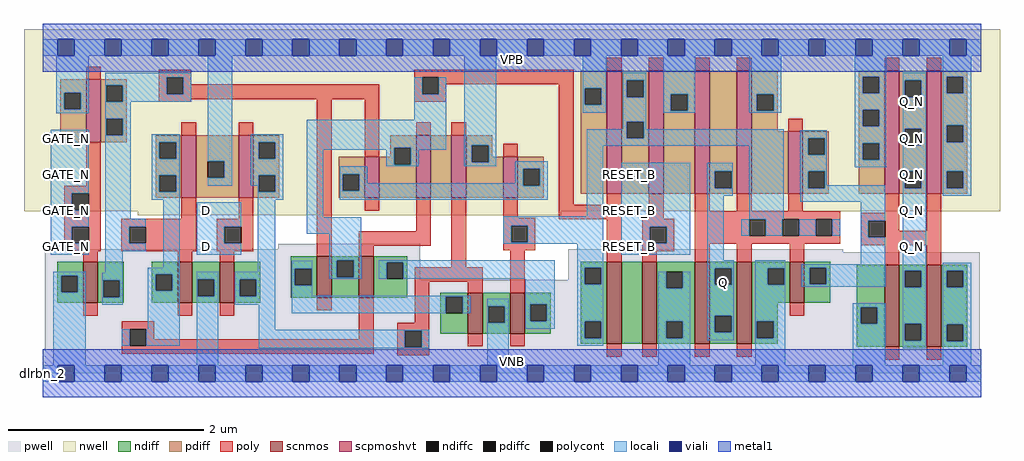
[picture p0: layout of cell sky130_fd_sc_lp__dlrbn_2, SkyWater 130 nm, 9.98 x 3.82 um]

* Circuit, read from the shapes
.subckt sky130_fd_sc_lp__dlrbn_2 D GATE_N RESET_B VGND VNB VPB VPWR Q Q_N
XM1 n1 GATE_N VGND VNB sky130_fd_pr__nfet_01v8 w=0.42 l=0.15
XM2 VGND n1 n2 VNB sky130_fd_pr__nfet_01v8 w=0.42 l=0.15
XM3 n3 D VGND VNB sky130_fd_pr__nfet_01v8 w=0.42 l=0.15
XM4 n4 n1 n5 VNB sky130_fd_pr__nfet_01v8 w=0.42 l=0.15
XM5 n6 n2 n4 VNB sky130_fd_pr__nfet_01v8 w=0.42 l=0.15
XM6 VGND n3 n5 VNB sky130_fd_pr__nfet_01v8 w=0.42 l=0.15
XM7 n6 n7 VGND VNB sky130_fd_pr__nfet_01v8 w=0.42 l=0.15
XM8 n8 n4 n7 VNB sky130_fd_pr__nfet_01v8 w=0.84 l=0.15
XM9 VGND RESET_B n8 VNB sky130_fd_pr__nfet_01v8 w=0.84 l=0.15
XM10 Q n7 VGND VNB sky130_fd_pr__nfet_01v8 w=0.84 l=0.15 m=2
XM11 n9 n7 VGND VNB sky130_fd_pr__nfet_01v8 w=0.42 l=0.15
XM12 Q_N n9 VGND VNB sky130_fd_pr__nfet_01v8 w=0.84 l=0.15 m=2
XM13 n1 GATE_N VPWR VPB sky130_fd_pr__pfet_01v8_hvt w=0.64 l=0.15
XM14 VPWR n1 n2 VPB sky130_fd_pr__pfet_01v8_hvt w=0.64 l=0.15
XM15 n3 D VPWR VPB sky130_fd_pr__pfet_01v8_hvt w=0.64 l=0.15
XM16 n4 n1 n10 VPB sky130_fd_pr__pfet_01v8_hvt w=0.42 l=0.15
XM17 n11 n2 n4 VPB sky130_fd_pr__pfet_01v8_hvt w=0.64 l=0.15
XM18 VPWR n3 n11 VPB sky130_fd_pr__pfet_01v8_hvt w=0.64 l=0.15
XM19 n10 n7 VPWR VPB sky130_fd_pr__pfet_01v8_hvt w=0.42 l=0.15
XM20 n7 n4 VPWR VPB sky130_fd_pr__pfet_01v8_hvt w=1.26 l=0.15
XM21 VPWR RESET_B n7 VPB sky130_fd_pr__pfet_01v8_hvt w=1.26 l=0.15
XM22 Q n7 VPWR VPB sky130_fd_pr__pfet_01v8_hvt w=1.26 l=0.15 m=2
XM23 n9 n7 VPWR VPB sky130_fd_pr__pfet_01v8_hvt w=0.64 l=0.15
XM24 Q_N n9 VPWR VPB sky130_fd_pr__pfet_01v8_hvt w=1.26 l=0.15 m=2
.ends

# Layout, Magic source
magic
tech sky130A
magscale 1 2
<< nwell >>
rect -38 331 1958 704
rect 195 323 1061 331
<< pwell >>
rect 482 254 772 265
rect 4 191 772 254
rect 1075 248 1637 254
rect 1075 191 1917 248
rect 4 49 1917 191
rect 0 0 1920 49
<< scnmos >>
rect 83 144 113 228
rect 276 144 306 228
rect 362 144 392 228
rect 561 155 591 239
rect 647 155 677 239
rect 870 81 900 165
rect 956 81 986 165
rect 1154 60 1184 228
rect 1226 60 1256 228
rect 1334 60 1364 228
rect 1420 60 1450 228
rect 1528 144 1558 228
rect 1722 54 1752 222
rect 1808 54 1838 222
<< scpmoshvt >>
rect 89 473 119 601
rect 284 359 314 487
rect 401 359 431 487
rect 659 359 689 443
rect 764 359 794 487
rect 836 359 866 487
rect 942 359 972 443
rect 1154 367 1184 619
rect 1240 367 1270 619
rect 1334 367 1364 619
rect 1420 367 1450 619
rect 1525 367 1555 495
rect 1722 367 1752 619
rect 1808 367 1838 619
<< ndiff >>
rect 30 200 83 228
rect 30 166 38 200
rect 72 166 83 200
rect 30 144 83 166
rect 113 190 166 228
rect 113 156 124 190
rect 158 156 166 190
rect 113 144 166 156
rect 223 203 276 228
rect 223 169 231 203
rect 265 169 276 203
rect 223 144 276 169
rect 306 192 362 228
rect 306 158 317 192
rect 351 158 362 192
rect 306 144 362 158
rect 392 192 445 228
rect 392 158 403 192
rect 437 158 445 192
rect 392 144 445 158
rect 508 214 561 239
rect 508 180 516 214
rect 550 180 561 214
rect 508 155 561 180
rect 591 231 647 239
rect 591 197 602 231
rect 636 197 647 231
rect 591 155 647 197
rect 677 227 746 239
rect 677 193 704 227
rect 738 193 746 227
rect 677 155 746 193
rect 1101 216 1154 228
rect 1101 182 1109 216
rect 1143 182 1154 216
rect 813 157 870 165
rect 813 123 825 157
rect 859 123 870 157
rect 813 81 870 123
rect 900 137 956 165
rect 900 103 911 137
rect 945 103 956 137
rect 900 81 956 103
rect 986 141 1039 165
rect 986 107 997 141
rect 1031 107 1039 141
rect 986 81 1039 107
rect 1101 106 1154 182
rect 1101 72 1109 106
rect 1143 72 1154 106
rect 1101 60 1154 72
rect 1184 60 1226 228
rect 1256 208 1334 228
rect 1256 174 1275 208
rect 1309 174 1334 208
rect 1256 106 1334 174
rect 1256 72 1275 106
rect 1309 72 1334 106
rect 1256 60 1334 72
rect 1364 215 1420 228
rect 1364 181 1375 215
rect 1409 181 1420 215
rect 1364 118 1420 181
rect 1364 84 1375 118
rect 1409 84 1420 118
rect 1364 60 1420 84
rect 1450 215 1528 228
rect 1450 181 1483 215
rect 1517 181 1528 215
rect 1450 144 1528 181
rect 1558 216 1611 228
rect 1558 182 1569 216
rect 1603 182 1611 216
rect 1558 144 1611 182
rect 1450 106 1503 144
rect 1665 135 1722 222
rect 1450 72 1461 106
rect 1495 72 1503 106
rect 1450 60 1503 72
rect 1665 101 1673 135
rect 1707 101 1722 135
rect 1665 54 1722 101
rect 1752 210 1808 222
rect 1752 176 1763 210
rect 1797 176 1808 210
rect 1752 101 1808 176
rect 1752 67 1763 101
rect 1797 67 1808 101
rect 1752 54 1808 67
rect 1838 210 1891 222
rect 1838 176 1849 210
rect 1883 176 1891 210
rect 1838 100 1891 176
rect 1838 66 1849 100
rect 1883 66 1891 100
rect 1838 54 1891 66
<< pdiff >>
rect 36 574 89 601
rect 36 540 44 574
rect 78 540 89 574
rect 36 473 89 540
rect 119 589 172 601
rect 119 555 130 589
rect 164 555 172 589
rect 119 521 172 555
rect 119 487 130 521
rect 164 487 172 521
rect 119 473 172 487
rect 231 473 284 487
rect 231 439 239 473
rect 273 439 284 473
rect 231 405 284 439
rect 231 371 239 405
rect 273 371 284 405
rect 231 359 284 371
rect 314 434 401 487
rect 314 400 338 434
rect 372 400 401 434
rect 314 359 401 400
rect 431 473 484 487
rect 431 439 442 473
rect 476 439 484 473
rect 431 405 484 439
rect 431 371 442 405
rect 476 371 484 405
rect 431 359 484 371
rect 711 461 764 487
rect 711 443 719 461
rect 606 407 659 443
rect 606 373 614 407
rect 648 373 659 407
rect 606 359 659 373
rect 689 427 719 443
rect 753 427 764 461
rect 689 359 764 427
rect 794 359 836 487
rect 866 466 920 487
rect 866 432 878 466
rect 912 443 920 466
rect 912 432 942 443
rect 866 359 942 432
rect 972 418 1025 443
rect 972 384 983 418
rect 1017 384 1025 418
rect 972 359 1025 384
rect 1101 583 1154 619
rect 1101 549 1109 583
rect 1143 549 1154 583
rect 1101 367 1154 549
rect 1184 599 1240 619
rect 1184 565 1195 599
rect 1229 565 1240 599
rect 1184 515 1240 565
rect 1184 481 1195 515
rect 1229 481 1240 515
rect 1184 367 1240 481
rect 1270 571 1334 619
rect 1270 537 1285 571
rect 1319 537 1334 571
rect 1270 367 1334 537
rect 1364 413 1420 619
rect 1364 379 1375 413
rect 1409 379 1420 413
rect 1364 367 1420 379
rect 1450 571 1503 619
rect 1450 537 1461 571
rect 1495 537 1503 571
rect 1450 495 1503 537
rect 1669 607 1722 619
rect 1669 573 1677 607
rect 1711 573 1722 607
rect 1669 539 1722 573
rect 1669 505 1677 539
rect 1711 505 1722 539
rect 1450 367 1525 495
rect 1555 481 1608 495
rect 1555 447 1566 481
rect 1600 447 1608 481
rect 1555 413 1608 447
rect 1555 379 1566 413
rect 1600 379 1608 413
rect 1555 367 1608 379
rect 1669 471 1722 505
rect 1669 437 1677 471
rect 1711 437 1722 471
rect 1669 367 1722 437
rect 1752 599 1808 619
rect 1752 565 1763 599
rect 1797 565 1808 599
rect 1752 500 1808 565
rect 1752 466 1763 500
rect 1797 466 1808 500
rect 1752 413 1808 466
rect 1752 379 1763 413
rect 1797 379 1808 413
rect 1752 367 1808 379
rect 1838 607 1891 619
rect 1838 573 1849 607
rect 1883 573 1891 607
rect 1838 507 1891 573
rect 1838 473 1849 507
rect 1883 473 1891 507
rect 1838 413 1891 473
rect 1838 379 1849 413
rect 1883 379 1891 413
rect 1838 367 1891 379
<< ndiffc >>
rect 38 166 72 200
rect 124 156 158 190
rect 231 169 265 203
rect 317 158 351 192
rect 403 158 437 192
rect 516 180 550 214
rect 602 197 636 231
rect 704 193 738 227
rect 1109 182 1143 216
rect 825 123 859 157
rect 911 103 945 137
rect 997 107 1031 141
rect 1109 72 1143 106
rect 1275 174 1309 208
rect 1275 72 1309 106
rect 1375 181 1409 215
rect 1375 84 1409 118
rect 1483 181 1517 215
rect 1569 182 1603 216
rect 1461 72 1495 106
rect 1673 101 1707 135
rect 1763 176 1797 210
rect 1763 67 1797 101
rect 1849 176 1883 210
rect 1849 66 1883 100
<< pdiffc >>
rect 44 540 78 574
rect 130 555 164 589
rect 130 487 164 521
rect 239 439 273 473
rect 239 371 273 405
rect 338 400 372 434
rect 442 439 476 473
rect 442 371 476 405
rect 614 373 648 407
rect 719 427 753 461
rect 878 432 912 466
rect 983 384 1017 418
rect 1109 549 1143 583
rect 1195 565 1229 599
rect 1195 481 1229 515
rect 1285 537 1319 571
rect 1375 379 1409 413
rect 1461 537 1495 571
rect 1677 573 1711 607
rect 1677 505 1711 539
rect 1566 447 1600 481
rect 1566 379 1600 413
rect 1677 437 1711 471
rect 1763 565 1797 599
rect 1763 466 1797 500
rect 1763 379 1797 413
rect 1849 573 1883 607
rect 1849 473 1883 507
rect 1849 379 1883 413
<< poly >>
rect 89 601 119 627
rect 238 605 304 621
rect 238 571 254 605
rect 288 591 304 605
rect 760 605 1086 621
rect 1154 619 1184 645
rect 1240 619 1270 645
rect 1334 619 1364 645
rect 1420 619 1450 645
rect 1722 619 1752 645
rect 1808 619 1838 645
rect 288 571 689 591
rect 238 561 689 571
rect 238 555 304 561
rect 284 487 314 513
rect 401 487 431 513
rect 89 384 119 473
rect 44 368 119 384
rect 44 334 60 368
rect 94 334 119 368
rect 44 300 119 334
rect 284 316 314 359
rect 401 316 431 359
rect 44 266 60 300
rect 94 266 119 300
rect 44 250 119 266
rect 161 300 314 316
rect 161 266 177 300
rect 211 266 314 300
rect 161 250 314 266
rect 356 300 431 316
rect 356 266 372 300
rect 406 266 431 300
rect 356 250 431 266
rect 83 228 113 250
rect 276 228 306 250
rect 362 228 392 250
rect 561 239 591 561
rect 659 443 689 561
rect 760 571 776 605
rect 810 591 1086 605
rect 810 571 826 591
rect 760 555 826 571
rect 764 487 794 513
rect 836 487 866 513
rect 942 443 972 469
rect 659 333 689 359
rect 764 291 794 359
rect 647 261 794 291
rect 647 239 677 261
rect 836 217 866 359
rect 942 318 972 359
rect 1056 345 1086 591
rect 1525 495 1555 521
rect 1154 345 1184 367
rect 942 302 1008 318
rect 1056 315 1184 345
rect 1240 316 1270 367
rect 1334 331 1364 367
rect 1420 331 1450 367
rect 1525 331 1555 367
rect 942 268 958 302
rect 992 268 1008 302
rect 942 252 1008 268
rect 761 187 900 217
rect 83 118 113 144
rect 276 118 306 144
rect 362 118 392 144
rect 561 129 591 155
rect 162 90 228 106
rect 162 56 178 90
rect 212 70 228 90
rect 647 70 677 155
rect 761 103 791 187
rect 870 165 900 187
rect 956 165 986 252
rect 1154 228 1184 315
rect 1226 300 1292 316
rect 1226 266 1242 300
rect 1276 266 1292 300
rect 1226 250 1292 266
rect 1334 315 1631 331
rect 1722 328 1752 367
rect 1334 281 1445 315
rect 1479 281 1513 315
rect 1547 281 1581 315
rect 1615 281 1631 315
rect 1334 265 1631 281
rect 1673 312 1752 328
rect 1673 278 1689 312
rect 1723 292 1752 312
rect 1808 292 1838 367
rect 1723 278 1838 292
rect 1226 228 1256 250
rect 1334 228 1364 265
rect 1420 228 1450 265
rect 1528 228 1558 265
rect 1673 262 1838 278
rect 212 56 677 70
rect 162 40 677 56
rect 725 87 791 103
rect 725 53 741 87
rect 775 53 791 87
rect 870 55 900 81
rect 956 55 986 81
rect 1722 222 1752 262
rect 1808 222 1838 262
rect 1528 118 1558 144
rect 725 37 791 53
rect 1154 34 1184 60
rect 1226 34 1256 60
rect 1334 34 1364 60
rect 1420 34 1450 60
rect 1722 28 1752 54
rect 1808 28 1838 54
<< polycont >>
rect 254 571 288 605
rect 60 334 94 368
rect 60 266 94 300
rect 177 266 211 300
rect 372 266 406 300
rect 776 571 810 605
rect 958 268 992 302
rect 178 56 212 90
rect 1242 266 1276 300
rect 1445 281 1479 315
rect 1513 281 1547 315
rect 1581 281 1615 315
rect 1689 278 1723 312
rect 741 53 775 87
<< locali >>
rect 0 649 31 683
rect 65 649 127 683
rect 161 649 223 683
rect 257 649 319 683
rect 353 649 415 683
rect 449 649 511 683
rect 545 649 607 683
rect 641 649 703 683
rect 737 649 799 683
rect 833 649 895 683
rect 929 649 991 683
rect 1025 649 1087 683
rect 1121 649 1183 683
rect 1217 649 1279 683
rect 1313 649 1375 683
rect 1409 649 1471 683
rect 1505 649 1567 683
rect 1601 649 1663 683
rect 1697 649 1759 683
rect 1793 649 1855 683
rect 1889 649 1920 683
rect 28 574 94 649
rect 28 540 44 574
rect 78 540 94 574
rect 28 532 94 540
rect 128 605 304 615
rect 128 589 254 605
rect 128 555 130 589
rect 164 571 254 589
rect 288 571 304 605
rect 164 555 304 571
rect 128 521 180 555
rect 17 368 94 498
rect 17 334 60 368
rect 17 300 94 334
rect 17 266 60 300
rect 17 242 94 266
rect 128 487 130 521
rect 164 487 180 521
rect 128 316 180 487
rect 223 473 281 489
rect 223 439 239 473
rect 273 439 281 473
rect 223 405 281 439
rect 223 371 239 405
rect 273 371 281 405
rect 338 434 388 649
rect 760 571 776 605
rect 810 571 826 605
rect 760 519 826 571
rect 372 400 388 434
rect 338 384 388 400
rect 426 473 492 489
rect 426 439 442 473
rect 476 439 492 473
rect 426 405 492 439
rect 426 384 442 405
rect 223 355 281 371
rect 128 300 211 316
rect 128 266 177 300
rect 128 250 211 266
rect 22 200 88 208
rect 128 206 164 250
rect 247 216 281 355
rect 440 371 442 384
rect 476 371 492 405
rect 440 355 492 371
rect 540 461 826 519
rect 540 457 719 461
rect 315 300 406 350
rect 315 266 372 300
rect 315 242 406 266
rect 22 166 38 200
rect 72 166 88 200
rect 22 17 88 166
rect 122 190 164 206
rect 122 156 124 190
rect 158 156 164 190
rect 122 140 164 156
rect 215 203 281 216
rect 440 208 476 355
rect 540 319 574 457
rect 703 427 719 457
rect 753 457 826 461
rect 862 466 928 649
rect 1105 583 1153 649
rect 1105 549 1109 583
rect 1143 549 1153 583
rect 1105 533 1153 549
rect 1187 599 1235 615
rect 1187 565 1195 599
rect 1229 565 1235 599
rect 1187 515 1235 565
rect 1269 571 1335 649
rect 1269 537 1285 571
rect 1319 537 1335 571
rect 1269 533 1335 537
rect 1445 571 1511 649
rect 1445 537 1461 571
rect 1495 537 1511 571
rect 1445 533 1511 537
rect 1661 607 1725 649
rect 1661 573 1677 607
rect 1711 573 1725 607
rect 1661 539 1725 573
rect 1187 499 1195 515
rect 753 427 769 457
rect 703 423 769 427
rect 862 432 878 466
rect 912 432 928 466
rect 1113 481 1195 499
rect 1229 499 1235 515
rect 1661 505 1677 539
rect 1711 505 1725 539
rect 1229 481 1516 499
rect 1113 465 1516 481
rect 862 423 928 432
rect 608 407 664 423
rect 608 373 614 407
rect 648 389 664 407
rect 967 418 1033 434
rect 967 389 983 418
rect 648 384 983 389
rect 1017 384 1033 418
rect 648 373 1033 384
rect 608 355 1033 373
rect 1113 321 1147 465
rect 540 285 652 319
rect 586 231 652 285
rect 942 302 1147 321
rect 942 268 958 302
rect 992 268 1147 302
rect 942 265 1147 268
rect 215 169 231 203
rect 265 169 281 203
rect 215 90 281 169
rect 162 56 178 90
rect 212 56 281 90
rect 315 192 359 208
rect 315 158 317 192
rect 351 158 359 192
rect 315 17 359 158
rect 393 192 476 208
rect 393 158 403 192
rect 437 158 476 192
rect 393 140 476 158
rect 442 89 476 140
rect 510 214 552 230
rect 510 180 516 214
rect 550 180 552 214
rect 586 197 602 231
rect 636 197 652 231
rect 586 193 652 197
rect 688 227 1047 231
rect 688 193 704 227
rect 738 193 1047 227
rect 510 159 552 180
rect 510 157 875 159
rect 510 123 825 157
rect 859 123 875 157
rect 909 137 953 153
rect 909 103 911 137
rect 945 103 953 137
rect 442 87 791 89
rect 442 53 741 87
rect 775 53 791 87
rect 442 51 791 53
rect 909 17 953 103
rect 987 141 1047 193
rect 987 107 997 141
rect 1031 107 1047 141
rect 987 91 1047 107
rect 1093 216 1147 265
rect 1183 300 1325 431
rect 1183 266 1242 300
rect 1276 266 1325 300
rect 1183 242 1325 266
rect 1359 413 1411 431
rect 1359 379 1375 413
rect 1409 379 1411 413
rect 1359 363 1411 379
rect 1093 182 1109 216
rect 1143 182 1147 216
rect 1359 231 1393 363
rect 1445 315 1516 465
rect 1550 481 1604 497
rect 1550 447 1566 481
rect 1600 447 1604 481
rect 1550 413 1604 447
rect 1661 471 1725 505
rect 1661 437 1677 471
rect 1711 437 1725 471
rect 1661 421 1725 437
rect 1759 599 1807 615
rect 1759 565 1763 599
rect 1797 565 1807 599
rect 1759 500 1807 565
rect 1759 466 1763 500
rect 1797 466 1807 500
rect 1550 379 1566 413
rect 1600 385 1604 413
rect 1759 413 1807 466
rect 1600 379 1723 385
rect 1550 351 1723 379
rect 1429 281 1445 315
rect 1479 281 1513 315
rect 1547 281 1581 315
rect 1615 281 1631 315
rect 1673 312 1723 351
rect 1673 278 1689 312
rect 1359 215 1413 231
rect 1093 106 1147 182
rect 1093 72 1109 106
rect 1143 72 1147 106
rect 1093 56 1147 72
rect 1259 174 1275 208
rect 1309 174 1325 208
rect 1259 106 1325 174
rect 1259 72 1275 106
rect 1309 72 1325 106
rect 1259 17 1325 72
rect 1359 181 1375 215
rect 1409 181 1413 215
rect 1359 118 1413 181
rect 1359 84 1375 118
rect 1409 84 1413 118
rect 1359 68 1413 84
rect 1457 215 1519 231
rect 1673 223 1723 278
rect 1457 181 1483 215
rect 1517 181 1519 215
rect 1457 106 1519 181
rect 1553 216 1723 223
rect 1553 182 1569 216
rect 1603 182 1723 216
rect 1553 177 1723 182
rect 1759 379 1763 413
rect 1797 379 1807 413
rect 1759 210 1807 379
rect 1841 607 1899 649
rect 1841 573 1849 607
rect 1883 573 1899 607
rect 1841 507 1899 573
rect 1841 473 1849 507
rect 1883 473 1899 507
rect 1841 413 1899 473
rect 1841 379 1849 413
rect 1883 379 1899 413
rect 1841 363 1899 379
rect 1759 176 1763 210
rect 1797 176 1807 210
rect 1457 72 1461 106
rect 1495 72 1519 106
rect 1457 17 1519 72
rect 1657 135 1723 143
rect 1657 101 1673 135
rect 1707 101 1723 135
rect 1657 17 1723 101
rect 1759 101 1807 176
rect 1759 67 1763 101
rect 1797 67 1807 101
rect 1759 51 1807 67
rect 1841 210 1899 226
rect 1841 176 1849 210
rect 1883 176 1899 210
rect 1841 100 1899 176
rect 1841 66 1849 100
rect 1883 66 1899 100
rect 1841 17 1899 66
rect 0 -17 31 17
rect 65 -17 127 17
rect 161 -17 223 17
rect 257 -17 319 17
rect 353 -17 415 17
rect 449 -17 511 17
rect 545 -17 607 17
rect 641 -17 703 17
rect 737 -17 799 17
rect 833 -17 895 17
rect 929 -17 991 17
rect 1025 -17 1087 17
rect 1121 -17 1183 17
rect 1217 -17 1279 17
rect 1313 -17 1375 17
rect 1409 -17 1471 17
rect 1505 -17 1567 17
rect 1601 -17 1663 17
rect 1697 -17 1759 17
rect 1793 -17 1855 17
rect 1889 -17 1920 17
<< viali >>
rect 31 649 65 683
rect 127 649 161 683
rect 223 649 257 683
rect 319 649 353 683
rect 415 649 449 683
rect 511 649 545 683
rect 607 649 641 683
rect 703 649 737 683
rect 799 649 833 683
rect 895 649 929 683
rect 991 649 1025 683
rect 1087 649 1121 683
rect 1183 649 1217 683
rect 1279 649 1313 683
rect 1375 649 1409 683
rect 1471 649 1505 683
rect 1567 649 1601 683
rect 1663 649 1697 683
rect 1759 649 1793 683
rect 1855 649 1889 683
rect 31 -17 65 17
rect 127 -17 161 17
rect 223 -17 257 17
rect 319 -17 353 17
rect 415 -17 449 17
rect 511 -17 545 17
rect 607 -17 641 17
rect 703 -17 737 17
rect 799 -17 833 17
rect 895 -17 929 17
rect 991 -17 1025 17
rect 1087 -17 1121 17
rect 1183 -17 1217 17
rect 1279 -17 1313 17
rect 1375 -17 1409 17
rect 1471 -17 1505 17
rect 1567 -17 1601 17
rect 1663 -17 1697 17
rect 1759 -17 1793 17
rect 1855 -17 1889 17
<< metal1 >>
rect 0 683 1920 715
rect 0 649 31 683
rect 65 649 127 683
rect 161 649 223 683
rect 257 649 319 683
rect 353 649 415 683
rect 449 649 511 683
rect 545 649 607 683
rect 641 649 703 683
rect 737 649 799 683
rect 833 649 895 683
rect 929 649 991 683
rect 1025 649 1087 683
rect 1121 649 1183 683
rect 1217 649 1279 683
rect 1313 649 1375 683
rect 1409 649 1471 683
rect 1505 649 1567 683
rect 1601 649 1663 683
rect 1697 649 1759 683
rect 1793 649 1855 683
rect 1889 649 1920 683
rect 0 617 1920 649
rect 0 17 1920 49
rect 0 -17 31 17
rect 65 -17 127 17
rect 161 -17 223 17
rect 257 -17 319 17
rect 353 -17 415 17
rect 449 -17 511 17
rect 545 -17 607 17
rect 641 -17 703 17
rect 737 -17 799 17
rect 833 -17 895 17
rect 929 -17 991 17
rect 1025 -17 1087 17
rect 1121 -17 1183 17
rect 1217 -17 1279 17
rect 1313 -17 1375 17
rect 1409 -17 1471 17
rect 1505 -17 1567 17
rect 1601 -17 1663 17
rect 1697 -17 1759 17
rect 1793 -17 1855 17
rect 1889 -17 1920 17
rect 0 -49 1920 -17
<< labels >>
flabel pwell s 0 0 1920 49 0 FreeSans 200 0 0 0 VNB
port 5 nsew ground bidirectional
flabel nwell s 0 617 1920 666 0 FreeSans 200 0 0 0 VPB
port 6 nsew power bidirectional
rlabel comment s 0 0 0 0 4 dlrbn_2
flabel metal1 s 0 617 1920 666 0 FreeSans 340 0 0 0 VPWR
port 7 nsew power bidirectional
flabel metal1 s 0 0 1920 49 0 FreeSans 340 0 0 0 VGND
port 4 nsew ground bidirectional
flabel locali s 1375 168 1409 202 0 FreeSans 340 0 0 0 Q
port 8 nsew signal output
flabel locali s 1759 242 1793 276 0 FreeSans 340 0 0 0 Q_N
port 9 nsew signal output
flabel locali s 1759 316 1793 350 0 FreeSans 340 0 0 0 Q_N
port 9 nsew signal output
flabel locali s 1759 390 1793 424 0 FreeSans 340 0 0 0 Q_N
port 9 nsew signal output
flabel locali s 1759 464 1793 498 0 FreeSans 340 0 0 0 Q_N
port 9 nsew signal output
flabel locali s 1759 538 1793 572 0 FreeSans 340 0 0 0 Q_N
port 9 nsew signal output
flabel locali s 319 242 353 276 0 FreeSans 340 0 0 0 D
port 1 nsew signal input
flabel locali s 319 316 353 350 0 FreeSans 340 0 0 0 D
port 1 nsew signal input
flabel locali s 1183 242 1217 276 0 FreeSans 340 0 0 0 RESET_B
port 3 nsew signal input
flabel locali s 1183 316 1217 350 0 FreeSans 340 0 0 0 RESET_B
port 3 nsew signal input
flabel locali s 1183 390 1217 424 0 FreeSans 340 0 0 0 RESET_B
port 3 nsew signal input
flabel locali s 1279 242 1313 276 0 FreeSans 340 0 0 0 RESET_B
port 3 nsew signal input
flabel locali s 1279 316 1313 350 0 FreeSans 340 0 0 0 RESET_B
port 3 nsew signal input
flabel locali s 1279 390 1313 424 0 FreeSans 340 0 0 0 RESET_B
port 3 nsew signal input
flabel locali s 31 242 65 276 0 FreeSans 340 0 0 0 GATE_N
port 2 nsew clock input
flabel locali s 31 316 65 350 0 FreeSans 340 0 0 0 GATE_N
port 2 nsew clock input
flabel locali s 31 390 65 424 0 FreeSans 340 0 0 0 GATE_N
port 2 nsew clock input
flabel locali s 31 464 65 498 0 FreeSans 340 0 0 0 GATE_N
port 2 nsew clock input
<< properties >>
string LEFsite unit
string LEFclass CORE
string FIXED_BBOX 0 0 1920 666
string GDS_FILE $PDKPATH/libs.ref/sky130_fd_sc_lp/gds/sky130_fd_sc_lp.gds
string LEFsymmetry X Y R90
string GDS_END 6217918
string GDS_START 6202534
<< end >>
